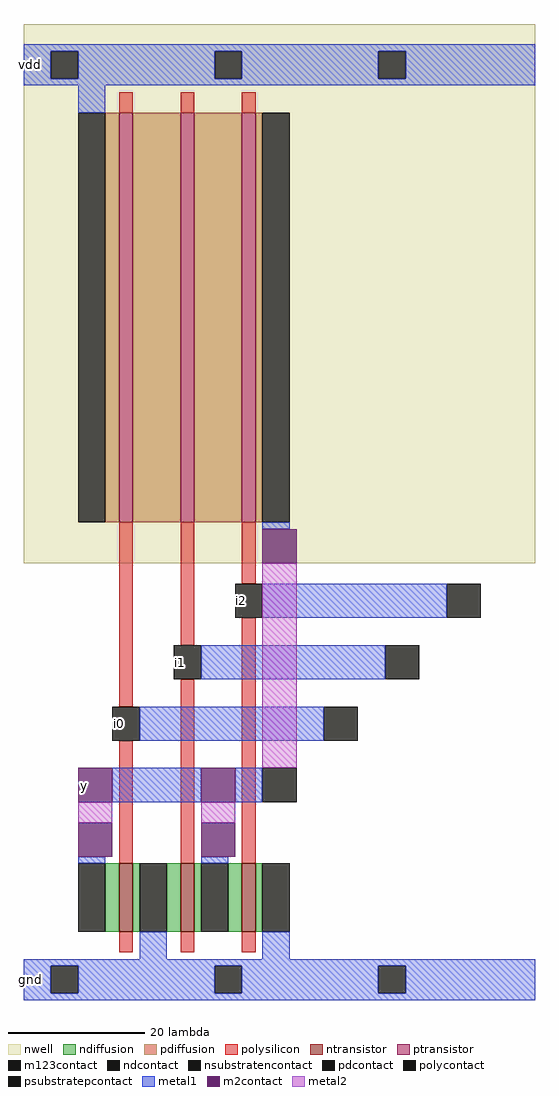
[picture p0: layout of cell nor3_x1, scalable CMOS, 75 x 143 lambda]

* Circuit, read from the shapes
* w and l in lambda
.subckt nor3_x1 i0 i1 i2 y vdd gnd
M1 gnd i0 y gnd nfet w=10 l=2
M2 y i1 gnd gnd nfet w=10 l=2
M3 gnd i2 y gnd nfet w=10 l=2
M4 n1 i0 vdd vdd pfet w=60 l=2
M5 n2 i1 n1 vdd pfet w=60 l=2
M6 y i2 n2 vdd pfet w=60 l=2
.ends

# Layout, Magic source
magic
tech scmos
<< nwell >>
rect 0 64 75 143
<< ntransistor >>
rect 14 10 16 20
rect 23 10 25 20
rect 32 10 34 20
<< ptransistor >>
rect 14 70 16 130
rect 23 70 25 130
rect 32 70 34 130
<< ndiffusion >>
rect 12 10 14 20
rect 16 10 17 20
rect 21 10 23 20
rect 25 10 26 20
rect 30 10 32 20
rect 34 10 35 20
<< pdiffusion >>
rect 12 70 14 130
rect 16 70 23 130
rect 25 70 32 130
rect 34 70 35 130
<< ndcontact >>
rect 8 10 12 20
rect 17 10 21 20
rect 26 10 30 20
rect 35 10 39 20
<< pdcontact >>
rect 8 70 12 130
rect 35 70 39 130
<< psubstratepcontact >>
rect 4 1 8 5
rect 28 1 32 5
rect 52 1 56 5
<< nsubstratencontact >>
rect 4 135 8 139
rect 28 135 32 139
rect 52 135 56 139
<< polysilicon >>
rect 14 130 16 133
rect 23 130 25 133
rect 32 130 34 133
rect 14 43 16 70
rect 23 52 25 70
rect 32 61 34 70
rect 14 20 16 38
rect 23 20 25 47
rect 32 20 34 56
rect 14 7 16 10
rect 23 7 25 10
rect 32 7 34 10
<< polycontact >>
rect 31 56 35 61
rect 22 47 26 52
rect 13 38 17 43
<< metal1 >>
rect 0 139 75 140
rect 0 135 4 139
rect 8 135 28 139
rect 32 135 52 139
rect 56 135 75 139
rect 0 134 75 135
rect 8 130 12 134
rect 35 69 39 70
rect 35 56 62 61
rect 26 47 53 52
rect 17 38 44 43
rect 13 29 26 34
rect 31 29 35 34
rect 8 20 12 21
rect 26 20 30 21
rect 17 6 21 10
rect 35 6 39 10
rect 0 5 75 6
rect 0 1 4 5
rect 8 1 28 5
rect 32 1 52 5
rect 56 1 75 5
rect 0 0 75 1
<< m2contact >>
rect 35 64 40 69
rect 8 29 13 34
rect 26 29 31 34
rect 8 21 13 26
rect 26 21 31 26
<< metal2 >>
rect 35 34 40 64
rect 8 26 13 29
rect 26 26 31 29
<< m123contact >>
rect 62 56 67 61
rect 53 47 58 52
rect 44 38 49 43
rect 35 29 40 34
<< labels >>
rlabel metal1 13 38 15 43 0 i0
port 1 nsew
rlabel metal1 22 47 24 52 0 i1
port 2 nsew
rlabel metal1 31 56 33 61 0 i2
port 3 nsew
rlabel m2contact 8 29 10 34 0 y
port 4 nsew
rlabel metal1 0 134 2 140 0 vdd
port 5 nsew
rlabel metal1 0 0 2 6 0 gnd
port 6 nsew
<< end >>
